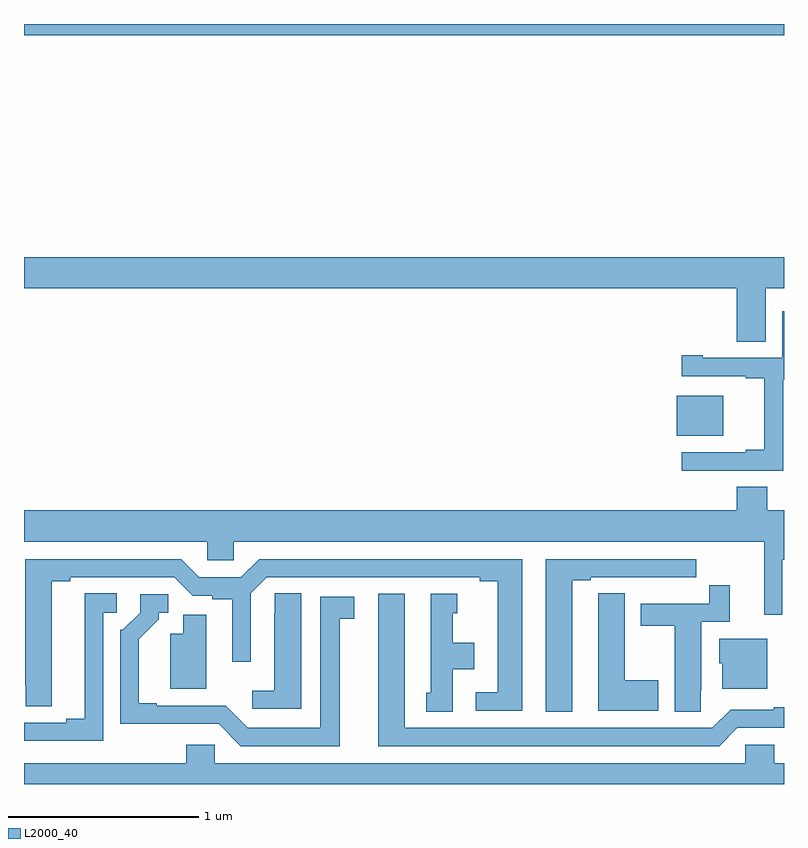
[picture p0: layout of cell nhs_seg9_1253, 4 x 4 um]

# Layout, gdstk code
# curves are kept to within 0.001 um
import gdstk
lib = gdstk.Library(unit=1e-6, precision=1e-09)
def R(c, l, rs):  # rectangles x0, y0, x1, y1
    for r in rs: c.add(gdstk.rectangle(r[:2], r[2:], *l))
def P(c, l, *ps):  # polygons
    for p in ps: c.add(gdstk.Polygon(p, *l))
L2000_40 = (2000, 40)

nhs_seg9_1253 = lib.new_cell('nhs_seg9_1253')
R(nhs_seg9_1253, L2000_40, [(184.436,1174.334,184.681,1174.543), (181,1176.44,185,1176.5)])
P(nhs_seg9_1253, L2000_40, [(181,1175.108),(184.751,1175.108),(184.751,1174.828),(184.903,1174.828),(184.903,1175.108),(185,1175.108),(185,1175.272),(181,1175.272)],
  [(184.995,1174.627),(185,1174.627),(185,1174.989),(184.992,1174.989),(184.992,1174.743),(184.573,1174.743),(184.573,1174.756),(184.461,1174.756),(184.461,1174.647),(184.799,1174.647),(184.799,1174.635),(184.895,1174.635),(184.895,1174.258),(184.799,1174.258),(184.799,1174.245),(184.461,1174.245),(184.461,1174.149),(184.995,1174.149)],
  [(184.992,1173.68),(185,1173.68),(185,1173.94),(184.911,1173.94),(184.911,1174.064),(184.751,1174.064),(184.751,1173.94),(181,1173.94),(181,1173.776),(181.965,1173.776),(181.965,1173.678),(182.103,1173.678),(182.103,1173.776),(184.895,1173.776),(184.895,1173.39),(184.992,1173.39)],
  [(183.622,1173.684),(182.237,1173.684),(182.141,1173.588),(181.923,1173.588),(181.827,1173.684),(181.007,1173.684),(181.008,1172.908),(181.147,1172.908),(181.147,1173.568),(181.243,1173.568),(181.243,1173.588),(181.791,1173.588),(181.887,1173.492),(181.992,1173.492),(181.992,1173.472),(182.096,1173.472),(182.096,1173.144),(182.193,1173.144),(182.193,1173.504),(182.277,1173.588),(183.398,1173.588),(183.398,1173.568),(183.494,1173.568),(183.494,1172.982),(183.378,1172.982),(183.378,1172.886),(183.622,1172.886)],
  [(183.886,1173.573),(183.982,1173.573),(183.982,1173.588),(184.258,1173.588),(184.258,1173.587),(184.424,1173.587),(184.424,1173.588),(184.537,1173.588),(184.537,1173.684),(183.746,1173.684),(183.746,1172.881),(183.886,1172.881)],
  [(184.563,1172.992),(184.564,1172.992),(184.564,1173.354),(184.715,1173.354),(184.715,1173.547),(184.606,1173.547),(184.606,1173.45),(184.247,1173.45),(184.247,1173.334),(184.424,1173.334),(184.424,1172.881),(184.563,1172.881)],
  [(181.416,1173.402),(181.489,1173.402),(181.489,1173.503),(181.319,1173.503),(181.319,1172.843),(181.223,1172.843),(181.223,1172.823),(181,1172.823),(181,1172.727),(181.416,1172.727)],
  [(182.458,1173.503),(182.319,1173.503),(182.319,1173.395),(182.318,1173.395),(182.318,1172.992),(182.202,1172.992),(182.202,1172.895),(182.458,1172.895)],
  [(184.339,1173.045),(184.162,1173.045),(184.162,1173.503),(184.023,1173.503),(184.023,1173.395),(184.022,1173.395),(184.022,1172.885),(184.339,1172.885)],
  [(183.256,1173.104),(183.37,1173.104),(183.37,1173.244),(183.256,1173.244),(183.256,1173.399),(183.28,1173.399),(183.28,1173.502),(183.14,1173.502),(183.14,1172.979),(183.116,1172.979),(183.116,1172.881),(183.256,1172.881)],
  [(184.755,1172.796),(185,1172.796),(185,1172.905),(184.946,1172.905),(184.946,1172.892),(184.719,1172.892),(184.623,1172.796),(183.004,1172.796),(183.004,1173.502),(182.864,1173.502),(182.864,1172.7),(184.659,1172.7)],
  [(182.662,1173.37),(182.737,1173.37),(182.737,1173.486),(182.558,1173.486),(182.558,1172.796),(182.178,1172.796),(182.061,1172.913),(181.699,1172.913),(181.699,1172.926),(181.603,1172.926),(181.603,1173.262),(181.708,1173.367),(181.708,1173.402),(181.758,1173.402),(181.758,1173.498),(181.611,1173.498),(181.611,1173.402),(181.521,1173.312),(181.506,1173.312),(181.506,1172.816),(182.025,1172.817),(182.142,1172.7),(182.662,1172.7)],
  [(181.96,1173.39),(181.838,1173.39),(181.838,1173.292),(181.769,1173.292),(181.769,1173.002),(181.96,1173.002)],
  [(184.912,1173.265),(184.658,1173.265),(184.658,1173.135),(184.676,1173.135),(184.676,1173.002),(184.912,1173.002)],
  [(185,1172.608),(184.949,1172.608),(184.949,1172.706),(184.797,1172.706),(184.797,1172.608),(182.004,1172.608),(182.004,1172.706),(181.853,1172.706),(181.853,1172.608),(181,1172.608),(181,1172.5),(185,1172.5)])

lib.write_gds('nhs_seg9_1253.gds')
